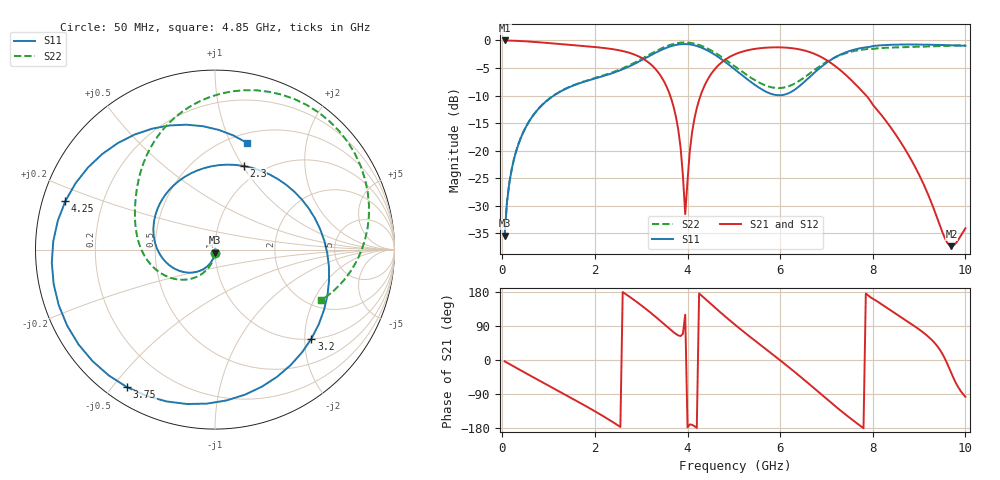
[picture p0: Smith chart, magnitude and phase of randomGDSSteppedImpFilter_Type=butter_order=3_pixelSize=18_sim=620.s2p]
! freq	dB(S11)	phase(S11)	dB(S12)	phase(S12)
!  dB(S21)	phase(S21)	dB(S22)	phase(S22)
!S-par simulation data
#  GHz  S  DB  R 50
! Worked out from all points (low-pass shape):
!   200 points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, 50 MHz to 10 GHz, reference 50 ohm
!   highest |S21| = -0.01 dB at 50 MHz (marker M1); lowest = -37.3 dB at 9.7 GHz (marker M2)
!   |S21| within 3 dB of the highest: start of sweep to 2.971 GHz; 4.906 GHz to 6.885 GHz (1.979 GHz wide, 33.6 % of centre)
!   lowest |S11| = -35.4 dB at 50 MHz (marker M3), VSWR 1.03, Z = 49.9 - j1.69 ohm
!   |S11| at or under -10 dB: start of sweep to 1.113 GHz
!   |S22| runs from -35.4 to -0.4 dB; largest |S21 - S12| = 0
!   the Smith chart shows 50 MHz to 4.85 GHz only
!   S11 on the Smith chart (normalised r, x): 50 MHz: 1.00, -0.03; 2.3 GHz: 0.82, +1.01; 3.2 GHz: 1.01, -2.16; 3.75 GHz: 0.06, -0.55; 4.25 GHz: 0.07, +0.16; 4.85 GHz: 0.60, +1.15
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0.05  -35.43 -93.7  -0.01 -3.5  -0.01 -3.5  -35.42 -92.7
0.2  -23.50 -105.9  -0.04 -13.8  -0.04 -13.8  -23.49 -102.0
0.5  -15.86 -129.6  -0.16 -34.2  -0.16 -34.2  -15.84 -119.8
1.75  -7.54 126.9  -1.01 -117.9  -1.01 -117.9  -7.48 176.0
2.3  -6.15 71.2  -1.48 -157.2  -1.48 -157.2  -6.02 153.1
3.2  -2.72 -42.7  -4.29 125.1  -4.29 125.1  -2.47 109.6
3.4  -1.86 -71.0  -6.17 104.6  -6.17 104.6  -1.59 95.6
3.75  -0.82 -122.6  -13.87 68.6  -13.87 68.6  -0.54 66.6
3.95  -0.67 -152.8  -31.51 119.5  -31.51 119.5  -0.37 48.3
4.25  -1.15 162.0  -10.79 175.6  -10.79 175.6  -0.82 20.8
4.55  -2.39 117.6  -5.62 143.0  -5.62 143.0  -2.01 -4.4
4.85  -4.14 73.5  -3.29 111.0  -3.29 111.0  -3.67 -25.4
5.05  -5.45 43.6  -2.42 90.6  -2.42 90.6  -4.89 -36.6
5.85  -9.80 -91.6  -1.26 13.6  -1.26 13.6  -8.56 -58.4
6.3  -9.02 179.5  -1.46 -30.2  -1.46 -30.2  -7.89 -62.7
6.7  -6.15 108.6  -2.30 -71.1  -2.30 -71.1  -5.62 -76.1
7.05  -3.77 57.6  -3.83 -107.6  -3.83 -107.6  -3.66 -98.3
7.5  -1.92 5.3  -6.91 -152.3  -6.91 -152.3  -2.12 -135.2
8.35  -0.81 -62.9  -15.35 134.1  -15.35 134.1  -1.31 146.9
9  -0.75 -99.4  -24.37 80.8  -24.37 80.8  -1.14 86.9
9.7  -0.88 -131.9  -37.33 -35.8  -37.33 -35.8  -0.96 30.8
10  -0.97 -144.9  -34.08 -97.1  -34.08 -97.1  -0.89 10.6
